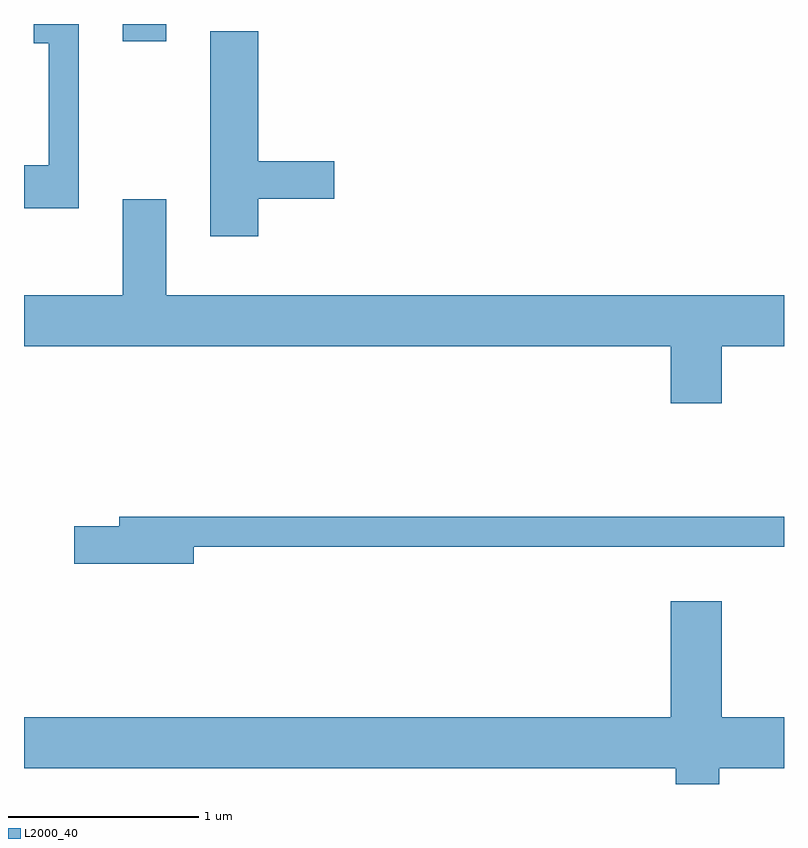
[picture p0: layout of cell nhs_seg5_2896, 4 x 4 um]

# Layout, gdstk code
import gdstk
lib = gdstk.Library(unit=1e-6, precision=1e-09)
def R(c, l, rs):  # rectangles x0, y0, x1, y1
    for r in rs: c.add(gdstk.rectangle(r[:2], r[2:], *l))
def P(c, l, *ps):  # polygons
    for p in ps: c.add(gdstk.Polygon(p, *l))
L2000_40 = (2000, 40)

nhs_seg5_2896 = lib.new_cell('nhs_seg5_2896')
R(nhs_seg5_2896, L2000_40, [(272.131,1433.981,272.359,1434.072)])
P(nhs_seg5_2896, L2000_40, [(271.899,1434.072),(271.663,1434.072),(271.663,1433.971),(271.741,1433.971),(271.741,1433.329),(271.611,1433.329),(271.611,1433.101),(271.899,1433.101)],
  [(272.844,1433.151),(273.244,1433.151),(273.244,1433.349),(272.844,1433.349),(272.844,1434.034),(272.591,1434.034),(272.591,1432.956),(272.844,1432.956)],
  [(275.284,1432.376),(275.611,1432.376),(275.611,1432.644),(272.359,1432.644),(272.359,1433.149),(272.131,1433.149),(272.131,1432.644),(271.611,1432.644),(271.611,1432.376),(275.016,1432.376),(275.016,1432.076),(275.284,1432.076)],
  [(272.504,1431.321),(275.611,1431.321),(275.611,1431.479),(272.111,1431.479),(272.111,1431.429),(271.876,1431.429),(271.876,1431.231),(272.504,1431.231)],
  [(275.269,1430.156),(275.611,1430.156),(275.611,1430.424),(275.284,1430.424),(275.284,1431.034),(275.016,1431.034),(275.016,1430.424),(271.611,1430.424),(271.611,1430.156),(275.041,1430.156),(275.041,1430.072),(275.269,1430.072)])

lib.write_gds('nhs_seg5_2896.gds')
